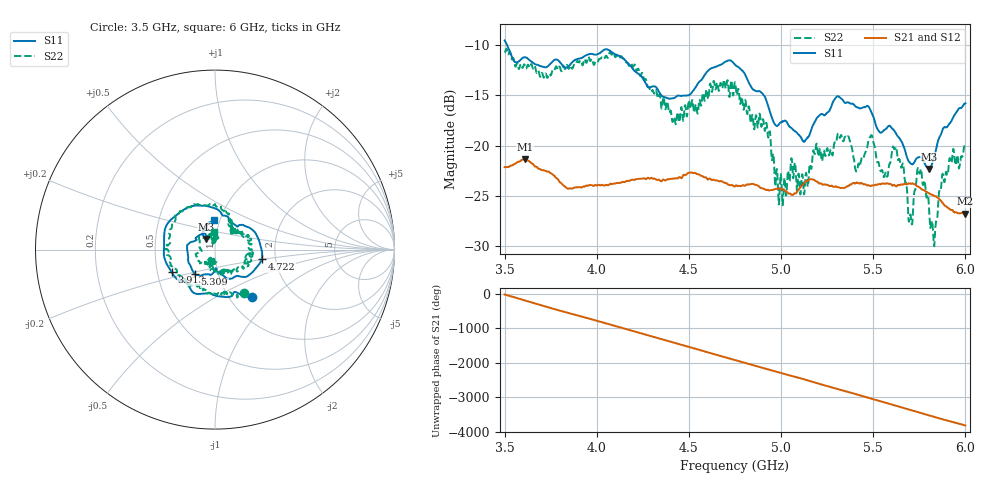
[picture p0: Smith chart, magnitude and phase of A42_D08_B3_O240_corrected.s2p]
! Created with skrf 1.9.0 (http://scikit-rf.org).
# Hz S RI R 50.0
!freq ReS11 ImS11 ReS21 ImS21 ReS12 ImS12 ReS22 ImS22
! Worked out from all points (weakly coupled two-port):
!   1601 points, 3.5 GHz to 6 GHz, reference 50 ohm
!   highest |S21| = -21.37 dB at 3.611 GHz (marker M1); lowest = -26.8 dB at 5.998 GHz (marker M2)
!   lowest |S11| = -22.3 dB at 5.803 GHz (marker M3), VSWR 1.17, Z = 45 + j5.32 ohm
!   |S11| at or under -10 dB: 3.514 GHz to end of sweep
!   |S22| runs from -30.0 to -10.3 dB; largest |S21 - S12| = 0.00097
!   S11 on the Smith chart (normalised r, x): 3.5 GHz: 1.26, -0.75; 3.913 GHz: 0.59, -0.16; 4.722 GHz: 1.69, -0.19; 5.309 GHz: 0.77, -0.22; 6 GHz: 0.94, +0.31
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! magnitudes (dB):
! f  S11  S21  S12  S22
! 3.5 GHz  -9.5  -22.1  -22.1  -10.7
! 3.611 GHz  -11.2  -21.4  -21.4  -12.1
! 3.913 GHz  -11.3  -24.2  -24.1  -11.5
! 3.917 GHz  -11.3  -24.2  -24.2  -11.7
! 4.138 GHz  -11.2  -23.6  -23.6  -11.2
! 4.334 GHz  -14.5  -23.4  -23.3  -15.2
! 4.42 GHz  -15.3  -23.3  -23.3  -17.1
! 4.722 GHz  -11.5  -23.9  -23.9  -14.9
! 4.75 GHz  -11.9  -24.1  -24.0  -13.7
! 4.93 GHz  -16.1  -24.4  -24.4  -19.2
! 4.998 GHz  -17.7  -24.3  -24.3  -22.8
! 5.167 GHz  -18.2  -23.4  -23.3  -21.9
! 5.309 GHz  -15.1  -24.1  -24.1  -18.8
! 5.584 GHz  -18.0  -23.8  -23.8  -22.1
! 5.62 GHz  -18.7  -24.0  -24.0  -20.3
! 5.703 GHz  -21.8  -23.8  -23.8  -27.0
! 5.752 GHz  -21.1  -24.2  -24.2  -22.8
! 5.803 GHz  -22.3  -24.8  -24.7  -26.3
! 5.836 GHz  -20.8  -25.0  -25.0  -28.6
! 5.87 GHz  -18.7  -25.6  -25.5  -23.8
! 5.998 GHz  -15.8  -26.8  -26.7  -20.0
! 6 GHz  -15.8  -26.8  -26.7  -20.1
